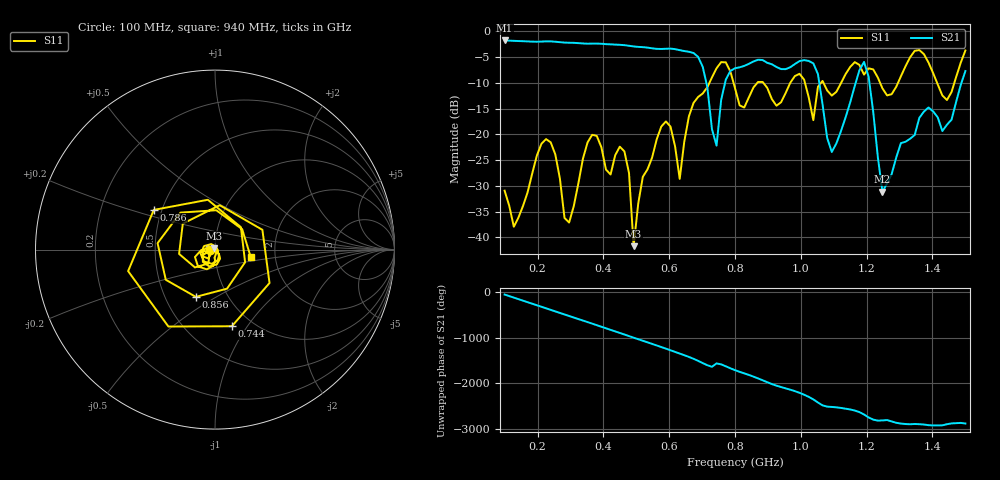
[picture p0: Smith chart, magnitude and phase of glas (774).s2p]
! NanoVNA-App
! Date: 2025-09-25 16:01:30
! Start: 100MHz Stop: 1,5GHz Points: 101
! S-Parameter data: F S11 S21 S12 S22
# Hz S RI R 50
!  Frequency  S11_Real  S11_Imag  S21_Real  S21_Imag  S12_Real  S12_Imag  S22_Real  S22_Imag
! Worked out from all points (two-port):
!   101 points, 100 MHz to 1.5 GHz, reference 50 ohm
!   highest |S21| = -1.80 dB at 100 MHz (marker M1); lowest = -31.2 dB at 1.248 GHz (marker M2)
!   |S21| within 3 dB of the highest: start of sweep to 684.5 MHz
!   lowest |S11| = -41.7 dB at 492 MHz (marker M3), VSWR 1.02, Z = 49.5 + j0.654 ohm
!   |S11| at or under -10 dB: start of sweep to 722.4 MHz; 795.5 MHz to 868.1 MHz (72.61 MHz wide, 8.73 % of centre); 885.9 MHz to 967.9 MHz (82.05 MHz wide, 8.85 % of centre)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
!   S12 and S22 are empty: the file has one direction only
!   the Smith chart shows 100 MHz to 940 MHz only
!   S11 on the Smith chart (normalised r, x): 100 MHz: 0.94, -0.01; 744 MHz: 0.81, -0.85; 786 MHz: 0.45, +0.24; 856 MHz: 0.71, -0.41; 940 MHz: 1.49, -0.14
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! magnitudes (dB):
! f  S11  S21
! 100 MHz  -30.9  -1.8
! 128 MHz  -37.9  -1.9
! 226 MHz  -20.9  -2.0
! 296 MHz  -37.1  -2.2
! 338 MHz  -24.7  -2.4
! 464 MHz  -23.3  -2.7
! 492 MHz  -41.7  -3.0
! 576 MHz  -18.5  -3.5
! 632 MHz  -28.6  -3.7
! 702 MHz  -12.1  -6.9
! 744 MHz  -7.2  -22.2
! 786 MHz  -7.8  -7.7
! 800 MHz  -11.0  -7.2
! 856 MHz  -10.9  -5.9
! 940 MHz  -13.8  -7.4
! 996 MHz  -8.3  -5.8
! 1.038 GHz  -17.3  -6.2
! 1.094 GHz  -12.5  -23.4
! 1.192 GHz  -8.4  -6.0
! 1.248 GHz  -11.1  -31.2
! 1.276 GHz  -12.2  -27.7
! 1.5 GHz  -3.7  -7.7
